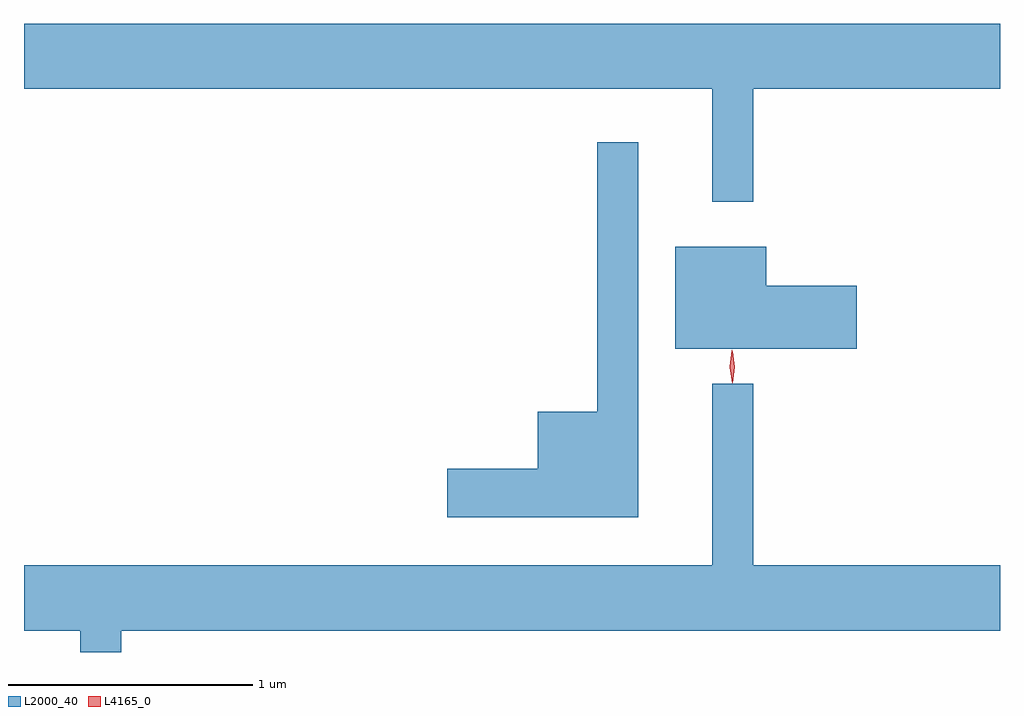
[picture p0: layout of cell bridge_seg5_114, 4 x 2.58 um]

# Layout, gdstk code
import gdstk
lib = gdstk.Library(unit=1e-6, precision=1e-09)
def P(c, l, *ps):  # polygons
    for p in ps: c.add(gdstk.Polygon(p, *l))
L2000_40 = (2000, 40)
L4165_0 = (4165, 0)

bridge_seg5_114 = lib.new_cell('bridge_seg5_114')
P(bridge_seg5_114, L2000_40, [(1179.289,1498.976),(1180.301,1498.976),(1180.301,1499.244),(1176.301,1499.244),(1176.301,1498.976),(1179.121,1498.976),(1179.121,1498.513),(1179.289,1498.513)],
  [(1178.819,1498.758),(1178.651,1498.758),(1178.651,1497.654),(1178.406,1497.654),(1178.406,1497.419),(1178.036,1497.419),(1178.036,1497.221),(1178.819,1497.221)],
  [(1179.714,1498.169),(1179.344,1498.169),(1179.344,1498.329),(1178.971,1498.329),(1178.971,1497.911),(1179.714,1497.911)],
  [(1176.699,1496.756),(1180.301,1496.756),(1180.301,1497.024),(1179.289,1497.024),(1179.289,1497.768),(1179.121,1497.768),(1179.121,1497.024),(1176.301,1497.024),(1176.301,1496.756),(1176.531,1496.756),(1176.531,1496.667),(1176.699,1496.667)])
P(bridge_seg5_114, L4165_0, [(1179.204,1497.773),(1179.204,1497.773),(1179.194,1497.836),(1179.204,1497.899),(1179.204,1497.9),(1179.205,1497.899),(1179.214,1497.836),(1179.205,1497.773)],
  [(1179.203,1497.77),(1179.203,1497.77),(1179.193,1497.838),(1179.202,1497.906),(1179.202,1497.906),(1179.203,1497.906),(1179.213,1497.838),(1179.204,1497.77)])

lib.write_gds('bridge_seg5_114.gds')
